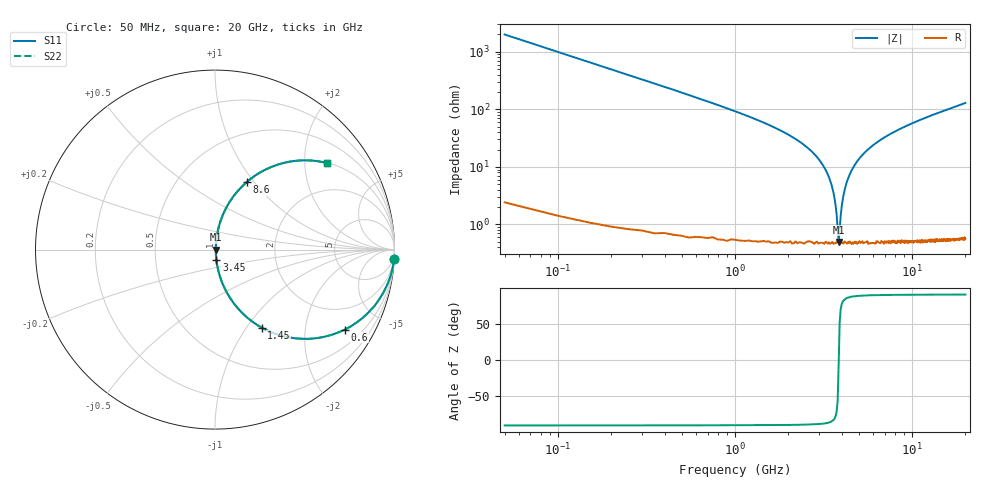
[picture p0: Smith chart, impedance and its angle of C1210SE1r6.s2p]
! AVX Thin Film Operation		Date: April 2012
! Description: Accu-P® Series, Thin Film, SMD, RF Capacitor
! Part Number: 12101J1R6PBTTR
!	100	MHz	-	20.05	GHz
!	Serial	Measurements
#	MHZ	S	MA	R	50
!	S11	S21	S12	S22
!	dB	Phase	dB	Phase	dB	Phase	dB	Phase
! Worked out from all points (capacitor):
!   400 points, 50 MHz to 20 GHz, reference 50 ohm
!   read as one part in series: C = 1.6 pF near 150 MHz
!   lowest |Z| = 494 mohm at 3.85 GHz (marker M1)
!   series resonance near 3.854 GHz, so ESL is about 1.1 nH
!   S11 on the Smith chart (normalised r, x): 50 MHz: 1, -40; 600 MHz: 1.01, -3.23; 1.45 GHz: 1.01, -1.18; 3.45 GHz: 1.01, -0.11; 8.6 GHz: 1.01, +0.92; 20 GHz: 1.01, +2.58
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50  0.999 -2.9  0.05 87.1  0.05 87.1  0.999 -2.9
100  0.995 -5.7  0.1 84.2  0.1 84.2  0.995 -5.7
200  0.98 -11.4  0.198 78.5  0.198 78.5  0.98 -11.4
350  0.942 -19.5  0.334 70.3  0.334 70.3  0.942 -19.5
600  0.849 -31.7  0.525 58.1  0.525 58.1  0.849 -31.7
1450  0.506 -59.1  0.858 30.4  0.858 30.4  0.506 -59.1
2700  0.184 -77.9  0.978 10.6  0.978 10.6  0.184 -77.9
3400  0.065 -82.1  0.993 3.7  0.993 3.7  0.065 -82.1
3450  0.057 -81.9  0.994 3.3  0.994 3.3  0.057 -81.9
3700  0.021 -75.9  0.995 1.2  0.995 1.2  0.021 -75.9
3750  0.015 -70.3  0.995 0.8  0.995 0.8  0.015 -70.3
3850  0.004814 -5.7  0.995 0.0  0.995 0.0  0.004814 -5.7
3950  0.014 68.6  0.995 -0.7  0.995 -0.7  0.014 68.6
4100  0.032 79.6  0.995 -1.8  0.995 -1.8  0.032 79.6
4550  0.086 81.9  0.992 -4.9  0.992 -4.9  0.086 81.9
5450  0.179 78.2  0.979 -10.3  0.979 -10.3  0.179 78.2
6700  0.286 72.4  0.953 -16.6  0.953 -16.6  0.286 72.4
8600  0.417 64.8  0.905 -24.6  0.905 -24.6  0.417 64.8
10050  0.496 59.8  0.864 -29.7  0.864 -29.7  0.496 59.8
13350  0.632 50.4  0.771 -39.2  0.771 -39.2  0.632 50.4
16700  0.725 43.2  0.685 -46.5  0.685 -46.5  0.725 43.2
20000  0.789 37.7  0.611 -52.1  0.611 -52.1  0.789 37.7
